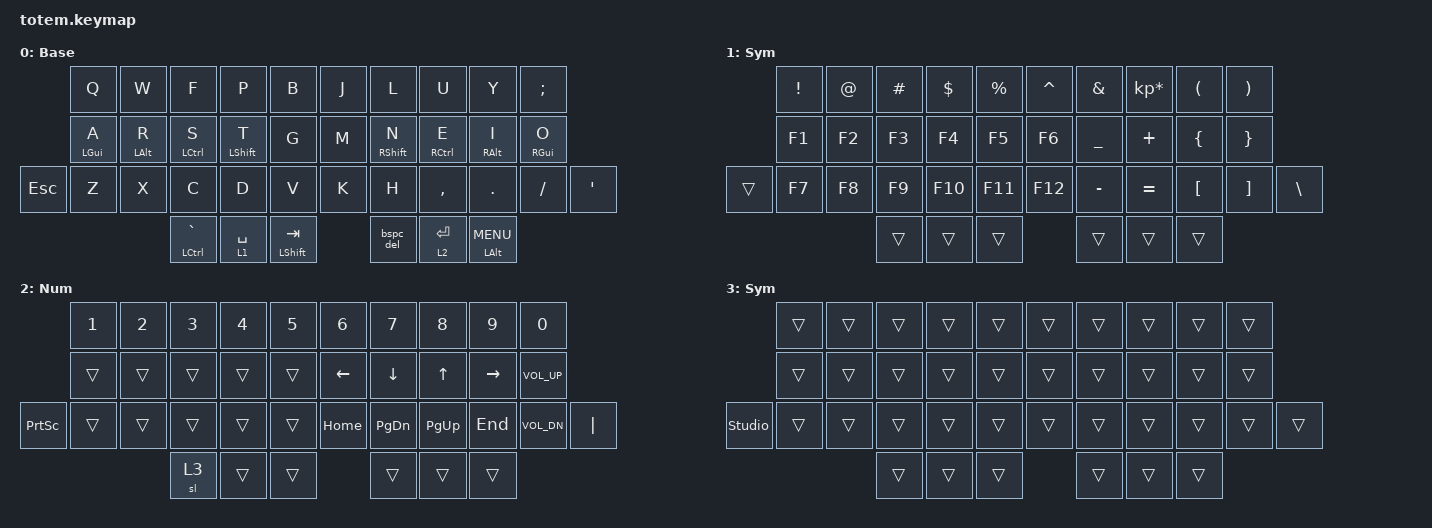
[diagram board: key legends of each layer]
//
//                                                        ▀▀▀▀▀     ▀▀▀▀▀          ▀▀█▀▀
//                                                        ▄▀▀▀▄  ▄  ▄▀▀▀▄  ▄  ▄▀▀▀▄  █  ▄▀▀▀▄
//                                                        █   █  █  █   █  █  █   █  █  █   █
//                                                         ▀▀▀   █   ▀▀▀   █   ▀▀▀   ▀   ▀▀▀
//                                                               █      ▄▄▄█▄▄▄    █   █  
//                                                               ▀      █  █  █     █▄█
//                                                             ▀▀▀▀▀    █  █  █      ▀
//                                                                      ▀  ▀  ▀
//
// ▄▄▄▄▄▄▄▄▄▄▄▄▄▄▄▄▄▄▄▄▄▄▄▄▄▄▄▄▄▄▄▄▄▄▄▄▄▄▄▄▄▄▄▄▄▄▄▄▄▄▄▄▄▄▄▄▄▄▄▄▄▄▄▄▄▄▄▄▄▄▄▄▄▄▄▄▄▄▄▄▄▄▄▄▄▄▄▄▄▄▄▄▄▄▄▄▄▄▄▄▄▄▄▄▄▄▄▄▄▄▄▄▄▄▄▄▄▄▄▄▄▄▄▄▄▄▄▄▄▄▄▄▄▄▄▄▄▄▄▄▄▄▄▄▄▄▄▄▄

#include <behaviors.dtsi>
#include <dt-bindings/zmk/keys.h>

#define Base        0
#define Nav         1
#define Sym         2
#define Fun         3
#define Game        4
#define Gameplus    5

&mt {
    quick-tap-ms = <100>;
    global-quick-tap;
    flavor = "tap-preferred";
    tapping-term-ms = <170>;
};

&lt {
    tapping-term-ms = <240>;
    flavor = "balanced";
    quick-tap-ms = <150>;
};

/ {
    behaviors {
        hm: homerow_mods {
            compatible = "zmk,behavior-hold-tap";
            label = "HOMEROW_MODS";
            #binding-cells = <2>;
            flavor = "tap-preferred";
            tapping-term-ms = <200>;
            quick-tap-ms = <125>;
            global-quick-tap;
            bindings = <&kp>, <&kp>;
        };

        bspc_del: bspc_del {
            compatible = "zmk,behavior-mod-morph";
            label = "BSPC_DEL";
            bindings = <&kp BACKSPACE>, <&kp DELETE>;

            #binding-cells = <0>;
            mods = <(MOD_LSFT|MOD_RSFT)>;
            keep-mods = <(MOD_RSFT)>;
        };
    };

    combos { compatible = "zmk,combos"; };

    keymap {
        compatible = "zmk,keymap";

        Base {
            display-name = "Base";
            bindings = <
         &kp Q       &kp W       &kp F        &kp P         &kp B          &kp J        &kp L        &kp U        &kp Y       &kp SEMI
         &hm LGUI A  &hm LALT R  &hm LCTRL S  &hm LSHIFT T  &kp G          &kp M        &hm RSHFT N  &hm RCTRL E  &hm RALT I  &hm RGUI O
&kp ESC  &kp Z       &kp X       &kp C        &kp D         &kp V          &kp K        &kp H        &kp COMMA    &kp DOT     &kp SLASH   &kp APOSTROPHE
                                 &mt LCTRL GRAVE    &lt 1 SPACE   &mt LSHIFT TAB        &bspc_del    &lt 2 ENTER  &mt LALT K_MENU
            >;
        };

        Sym {
            display-name = "Sym";
            bindings = <
        &kp EXCL  &kp AT  &kp HASH  &kp DOLLAR  &kp PERCENT    &kp CARET  &kp AMPERSAND  &kp KP_ASTERISK  &kp LEFT_PARENTHESIS  &kp RPAR
        &kp F1    &kp F2  &kp F3    &kp F4      &kp F5         &kp F6     &kp UNDER      &kp PLUS         &kp LEFT_BRACE        &kp RIGHT_BRACE
&trans  &kp F7    &kp F8  &kp F9    &kp F10     &kp F11        &kp F12    &kp MINUS      &kp EQUAL        &kp LBKT              &kp RBKT         &kp BSLH
                          &trans    &trans      &trans         &trans     &trans         &trans
            >;
        };

        Num {
            bindings = <
                 &kp N1  &kp N2  &kp N3  &kp N4  &kp N5    &kp N6    &kp N7     &kp N8     &kp N9     &kp N0
                 &trans  &trans  &trans  &trans  &trans    &kp LEFT  &kp DOWN   &kp UP     &kp RIGHT  &kp C_VOLUME_UP
&kp PRINTSCREEN  &trans  &trans  &trans  &trans  &trans    &kp HOME  &kp PG_DN  &kp PG_UP  &kp END    &kp C_VOL_DN     &kp PIPE
                                 &sl 3   &trans  &trans    &trans    &trans     &trans
            >;
        };

        Special {
            display-name = "Sym";
            bindings = <
                &trans  &trans  &trans  &trans  &trans    &trans  &trans  &trans  &trans  &trans
                &trans  &trans  &trans  &trans  &trans    &trans  &trans  &trans  &trans  &trans
&studio_unlock  &trans  &trans  &trans  &trans  &trans    &trans  &trans  &trans  &trans  &trans  &trans
                                &trans  &trans  &trans    &trans  &trans  &trans
            >;
        };
    };
};
